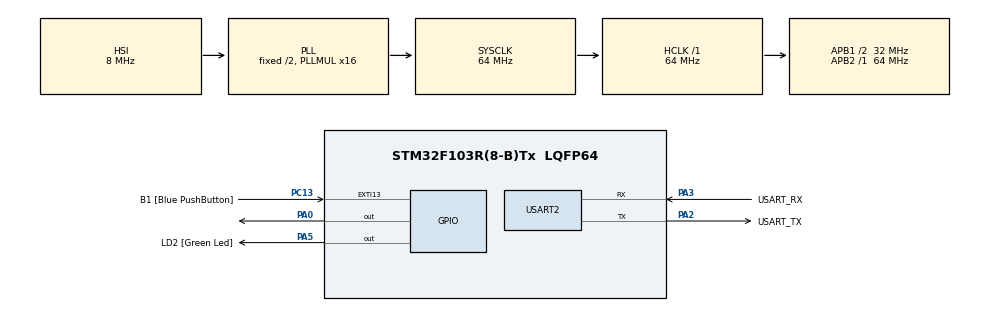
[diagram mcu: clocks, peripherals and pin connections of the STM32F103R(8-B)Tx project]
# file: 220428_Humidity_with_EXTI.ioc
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Mcu.Family=STM32F1
Mcu.Name=STM32F103R(8-B)Tx
Mcu.Package=LQFP64
NVIC.EXTI15_10_IRQn=true\:0\:0\:false\:false\:true\:true\:true\:true
NVIC.PriorityGroup=NVIC_PRIORITYGROUP_4
PA0-WKUP.Signal=GPIO_Output
PA13.GPIO_Label=TMS
PA13.Mode=Serial_Wire
PA13.Signal=SYS_JTMS-SWDIO
PA14.GPIO_Label=TCK
PA14.Mode=Serial_Wire
PA14.Signal=SYS_JTCK-SWCLK
PA2.GPIO_Label=USART_TX
PA2.GPIO_Mode=GPIO_MODE_AF_PP
PA2.GPIO_PuPd=GPIO_NOPULL
PA2.GPIO_Speed=GPIO_SPEED_FREQ_LOW
PA2.Mode=Asynchronous
PA2.Signal=USART2_TX
PA3.GPIO_Label=USART_RX
PA3.GPIO_Mode=GPIO_MODE_AF_PP
PA3.GPIO_PuPd=GPIO_NOPULL
PA3.GPIO_Speed=GPIO_SPEED_FREQ_LOW
PA3.Mode=Asynchronous
PA3.Signal=USART2_RX
PA5.GPIO_Label=LD2 [Green Led]
PA5.GPIO_ModeDefaultOutputPP=GPIO_MODE_OUTPUT_PP
PA5.GPIO_PuPd=GPIO_NOPULL
PA5.GPIO_Speed=GPIO_SPEED_FREQ_LOW
PA5.Signal=GPIO_Output
PB3.GPIO_Label=SWO
PB3.Signal=SYS_JTDO-TRACESWO
PC13-TAMPER-RTC.GPIO_Label=B1 [Blue PushButton]
PC13-TAMPER-RTC.GPIO_PuPd=GPIO_NOPULL
PC13-TAMPER-RTC.Signal=GPXTI13
PC14-OSC32_IN.Mode=LSE-External-Oscillator
PC14-OSC32_IN.Signal=RCC_OSC32_IN
PC15-OSC32_OUT.Mode=LSE-External-Oscillator
PC15-OSC32_OUT.Signal=RCC_OSC32_OUT
PD0-OSC_IN.Mode=HSE-External-Clock-Source
PD0-OSC_IN.Signal=RCC_OSC_IN
PD1-OSC_OUT.Mode=HSE-External-Clock-Source
PD1-OSC_OUT.Signal=RCC_OSC_OUT
ProjectManager.HeapSize=0x200
ProjectManager.StackSize=0x400
ProjectManager.TargetToolchain=STM32CubeIDE
RCC.AHBFreq_Value=64000000
RCC.APB1CLKDivider=RCC_HCLK_DIV2
RCC.APB1Freq_Value=32000000
RCC.APB1TimFreq_Value=64000000
RCC.APB2Freq_Value=64000000
RCC.APB2TimFreq_Value=64000000
RCC.HCLKFreq_Value=64000000
RCC.PLLMUL=RCC_PLL_MUL16
RCC.RTCClockSelection=RCC_RTCCLKSOURCE_LSE
RCC.SYSCLKFreq_VALUE=64000000
RCC.SYSCLKSource=RCC_SYSCLKSOURCE_PLLCLK
RCC.USBFreq_Value=64000000
TIM2.Period=10000-1
TIM2.Prescaler=64-1
TIM3.Period=10000-1
TIM3.Prescaler=64-1
USART2.VirtualMode=VM_ASYNC
VP_TIM2_VS_ClockSourceINT.Mode=Internal
VP_TIM3_VS_ClockSourceINT.Mode=Internal
board=NUCLEO-F103RB

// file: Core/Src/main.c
/* USER CODE BEGIN Header */
/**
  ******************************************************************************
  * @file           : main.c
  * @brief          : Main program body
  ******************************************************************************
  * @attention
  *
  * Copyright (c) 2022 STMicroelectronics.
  * All rights reserved.
  *
  * This software is licensed under terms that can be found in the LICENSE file
  * in the root directory of this software component.
  * If no LICENSE file comes with this software, it is provided AS-IS.
  *
  ******************************************************************************
  */
/* USER CODE END Header */
#include "main.h"

/* USER CODE BEGIN PTD */
#ifdef __GNUC__
/* With GCC, small printf (option LD Linker->Libraries->Small printf
   set to 'Yes') calls __io_putchar() */
#define PUTCHAR_PROTOTYPE int __io_putchar(int ch)
#else
#define PUTCHAR_PROTOTYPE int fputc(int ch, FILE *f)
#endif /* __GNUC__ */
/* USER CODE END PTD */

 TIM_HandleTypeDef htim2;
TIM_HandleTypeDef htim3;

UART_HandleTypeDef huart2;

void SystemClock_Config(void);
static void MX_GPIO_Init(void);
static void MX_USART2_UART_Init(void);
static void MX_TIM3_Init(void);
static void MX_TIM2_Init(void);

/* USER CODE BEGIN 0 */
/*int isStart= 0;
int time=0;
uint32_t data = 0;
int idx = 0;
void HAL_GPIO_EXTI_Callback(uint16_t GPIO_Pin){

	if(isStart ==0){
		isStart = 1;
		time = 0;
		TIM3->CNT = 0;
	}
	else{
		time = TIM3->CNT;

		if(time > 140 && time <160){
			TIM3->CNT = 0;
			data = 0;
			idx = 0;
		}

		else if(time >60 && time<100){
			data = (data<<1);
			idx++;
			TIM3->CNT = 0;
		}

		else if(time>110 && time <130){
			data = (data<<1) +1;
			idx++;
			TIM3->CNT = 0;
		}

		if (idx ==32){
			printf("0x%0lx\n\r", data);
			idx =0;
			isStart =0;
			TIM3->CNT = 0;
		}
	}

}*/

uint8_t T_integral,T_decimal,RH_integral,RH_decimal;
uint8_t CheckSUM;

void us_delay(uint16_t delay){
	TIM2->CNT =0;
	while(TIM2->CNT<delay);
}

void Set_Pin_Output(GPIO_TypeDef *GPIOx,uint16_t GPIO_Pin){
		GPIOA->CRL |= (1<<3 | 1<<1 | 1<<0);
		GPIOA->CRL &= ~(1<<2);
}

void Set_Pin_Input(GPIO_TypeDef *GPIOx,uint16_t GPIO_Pin){
		GPIOA->CRL &= ~(1<<2 | 1<<1 | 1<<0);
		GPIOA->CRL |= (1<<3);
}

void DHT11_Start(void){
	Set_Pin_Output(GPIOA,GPIO_PIN_0);
	HAL_GPIO_WritePin(GPIOA,GPIO_PIN_0,GPIO_PIN_RESET);
	HAL_Delay(18);
	HAL_GPIO_WritePin(GPIOA,GPIO_PIN_0,GPIO_PIN_SET);
	us_delay(20);
	Set_Pin_Input(GPIOA,GPIO_PIN_0);
}

uint8_t DHT11_Check_Response(void){
	uint8_t Response = 0;
	us_delay(40);

	if(!(HAL_GPIO_ReadPin(GPIOA,GPIO_PIN_0))){ // ?��?��?��?���??? 받았?�� �??? ?��?��?���??? ?��?�� LOW ?��?��
		us_delay(80);
		if((HAL_GPIO_ReadPin(GPIOA,GPIO_PIN_0))) Response = 1; // 80us ?��?��?�� HIGH�??? ?��?��?�� 진짜 ?��?��?��?��
		else Response = -1; //255
	}

	while (HAL_GPIO_ReadPin(GPIOA,GPIO_PIN_0)); // wait for the pin to go low
	return Response;
}

uint8_t DHT11_Read(void){
	uint8_t data;

	for(uint8_t i = 0; i < 8 ; i++){
		while(!(HAL_GPIO_ReadPin(GPIOA,GPIO_PIN_0)));
		us_delay(40);
		if(!(HAL_GPIO_ReadPin(GPIOA,GPIO_PIN_0))){
			data = (data << 1);
		}
		else data = (data << 1) + 1;

		while((HAL_GPIO_ReadPin(GPIOA,GPIO_PIN_0)));
	}
	return data;
}

/* USER CODE END 0 */

int main(void)
{

  /* MCU Configuration--------------------------------------------------------*/

  /* Reset of all peripherals, Initializes the Flash interface and the Systick. */
  HAL_Init();

  /* Configure the system clock */
  SystemClock_Config();

  /* Initialize all configured peripherals */
  MX_GPIO_Init();
  MX_USART2_UART_Init();
  MX_TIM3_Init();
  MX_TIM2_Init();
  /* USER CODE BEGIN 2 */
  HAL_TIM_Base_Start(&htim3);
  HAL_TIM_Base_Start(&htim2);
  /* USER CODE END 2 */

  /* Infinite loop */
  /* USER CODE BEGIN WHILE */
  while (1)
  {

	  DHT11_Start();
	  DHT11_Check_Response();

	  RH_integral = DHT11_Read();
	  RH_decimal = DHT11_Read();
	  T_integral = DHT11_Read();
	  T_decimal = DHT11_Read();
	  CheckSUM = DHT11_Read();

	  if((RH_integral + RH_decimal + T_integral + T_decimal) == CheckSUM){
		  printf("Temperature : %d.%d 'C\n'r",T_integral,T_decimal);
		  printf("Humidity : %d.%d 'C\n'r",RH_integral,RH_decimal);
	  }
	  HAL_Delay(1000);
    /* USER CODE END WHILE */

  }
}

void SystemClock_Config(void)
{
  RCC_OscInitTypeDef RCC_OscInitStruct = {0};
  RCC_ClkInitTypeDef RCC_ClkInitStruct = {0};

  /** Initializes the RCC Oscillators according to the specified parameters
  * in the RCC_OscInitTypeDef structure.
  */
  RCC_OscInitStruct.OscillatorType = RCC_OSCILLATORTYPE_HSI;
  RCC_OscInitStruct.HSIState = RCC_HSI_ON;
  RCC_OscInitStruct.HSICalibrationValue = RCC_HSICALIBRATION_DEFAULT;
  RCC_OscInitStruct.PLL.PLLState = RCC_PLL_ON;
  RCC_OscInitStruct.PLL.PLLSource = RCC_PLLSOURCE_HSI_DIV2;
  RCC_OscInitStruct.PLL.PLLMUL = RCC_PLL_MUL16;
  if (HAL_RCC_OscConfig(&RCC_OscInitStruct) != HAL_OK)
  {
    Error_Handler();
  }

  /** Initializes the CPU, AHB and APB buses clocks
  */
  RCC_ClkInitStruct.ClockType = RCC_CLOCKTYPE_HCLK|RCC_CLOCKTYPE_SYSCLK
                              |RCC_CLOCKTYPE_PCLK1|RCC_CLOCKTYPE_PCLK2;
  RCC_ClkInitStruct.SYSCLKSource = RCC_SYSCLKSOURCE_PLLCLK;
  RCC_ClkInitStruct.AHBCLKDivider = RCC_SYSCLK_DIV1;
  RCC_ClkInitStruct.APB1CLKDivider = RCC_HCLK_DIV2;
  RCC_ClkInitStruct.APB2CLKDivider = RCC_HCLK_DIV1;

  if (HAL_RCC_ClockConfig(&RCC_ClkInitStruct, FLASH_LATENCY_2) != HAL_OK)
  {
    Error_Handler();
  }
}

static void MX_TIM2_Init(void)
{

  TIM_ClockConfigTypeDef sClockSourceConfig = {0};
  TIM_MasterConfigTypeDef sMasterConfig = {0};

  htim2.Instance = TIM2;
  htim2.Init.Prescaler = 64-1;
  htim2.Init.CounterMode = TIM_COUNTERMODE_UP;
  htim2.Init.Period = 10000-1;
  htim2.Init.ClockDivision = TIM_CLOCKDIVISION_DIV1;
  htim2.Init.AutoReloadPreload = TIM_AUTORELOAD_PRELOAD_DISABLE;
  if (HAL_TIM_Base_Init(&htim2) != HAL_OK)
  {
    Error_Handler();
  }
  sClockSourceConfig.ClockSource = TIM_CLOCKSOURCE_INTERNAL;
  if (HAL_TIM_ConfigClockSource(&htim2, &sClockSourceConfig) != HAL_OK)
  {
    Error_Handler();
  }
  sMasterConfig.MasterOutputTrigger = TIM_TRGO_RESET;
  sMasterConfig.MasterSlaveMode = TIM_MASTERSLAVEMODE_DISABLE;
  if (HAL_TIMEx_MasterConfigSynchronization(&htim2, &sMasterConfig) != HAL_OK)
  {
    Error_Handler();
  }

}

static void MX_TIM3_Init(void)
{

  TIM_ClockConfigTypeDef sClockSourceConfig = {0};
  TIM_MasterConfigTypeDef sMasterConfig = {0};

  htim3.Instance = TIM3;
  htim3.Init.Prescaler = 64-1;
  htim3.Init.CounterMode = TIM_COUNTERMODE_UP;
  htim3.Init.Period = 10000-1;
  htim3.Init.ClockDivision = TIM_CLOCKDIVISION_DIV1;
  htim3.Init.AutoReloadPreload = TIM_AUTORELOAD_PRELOAD_DISABLE;
  if (HAL_TIM_Base_Init(&htim3) != HAL_OK)
  {
    Error_Handler();
  }
  sClockSourceConfig.ClockSource = TIM_CLOCKSOURCE_INTERNAL;
  if (HAL_TIM_ConfigClockSource(&htim3, &sClockSourceConfig) != HAL_OK)
  {
    Error_Handler();
  }
  sMasterConfig.MasterOutputTrigger = TIM_TRGO_RESET;
  sMasterConfig.MasterSlaveMode = TIM_MASTERSLAVEMODE_DISABLE;
  if (HAL_TIMEx_MasterConfigSynchronization(&htim3, &sMasterConfig) != HAL_OK)
  {
    Error_Handler();
  }

}

static void MX_USART2_UART_Init(void)
{

  huart2.Instance = USART2;
  huart2.Init.BaudRate = 115200;
  huart2.Init.WordLength = UART_WORDLENGTH_8B;
  huart2.Init.StopBits = UART_STOPBITS_1;
  huart2.Init.Parity = UART_PARITY_NONE;
  huart2.Init.Mode = UART_MODE_TX_RX;
  huart2.Init.HwFlowCtl = UART_HWCONTROL_NONE;
  huart2.Init.OverSampling = UART_OVERSAMPLING_16;
  if (HAL_UART_Init(&huart2) != HAL_OK)
  {
    Error_Handler();
  }

}

static void MX_GPIO_Init(void)
{
  GPIO_InitTypeDef GPIO_InitStruct = {0};

  /* GPIO Ports Clock Enable */
  __HAL_RCC_GPIOC_CLK_ENABLE();
  __HAL_RCC_GPIOD_CLK_ENABLE();
  __HAL_RCC_GPIOA_CLK_ENABLE();
  __HAL_RCC_GPIOB_CLK_ENABLE();

  /*Configure GPIO pin Output Level */
  HAL_GPIO_WritePin(GPIOA, GPIO_PIN_0|LD2_Pin, GPIO_PIN_RESET);

  /*Configure GPIO pin : B1_Pin */
  GPIO_InitStruct.Pin = B1_Pin;
  GPIO_InitStruct.Mode = GPIO_MODE_IT_RISING;
  GPIO_InitStruct.Pull = GPIO_NOPULL;
  HAL_GPIO_Init(B1_GPIO_Port, &GPIO_InitStruct);

  /*Configure GPIO pins : PA0 LD2_Pin */
  GPIO_InitStruct.Pin = GPIO_PIN_0|LD2_Pin;
  GPIO_InitStruct.Mode = GPIO_MODE_OUTPUT_PP;
  GPIO_InitStruct.Pull = GPIO_NOPULL;
  GPIO_InitStruct.Speed = GPIO_SPEED_FREQ_LOW;
  HAL_GPIO_Init(GPIOA, &GPIO_InitStruct);

  /* EXTI interrupt init*/
  HAL_NVIC_SetPriority(EXTI15_10_IRQn, 0, 0);
  HAL_NVIC_EnableIRQ(EXTI15_10_IRQn);

}

/* USER CODE BEGIN 4 */
PUTCHAR_PROTOTYPE
{
  /* Place your implementation of fputc here */
  /* e.g. write a character to the USART1 and Loop until the end of transmission */
  HAL_UART_Transmit(&huart2,(uint8_t *)&ch, 1, 0xFFFF);

  return ch;
}
/* USER CODE END 4 */

void Error_Handler(void)
{
  __disable_irq();
  while (1)
  {
  }
}
